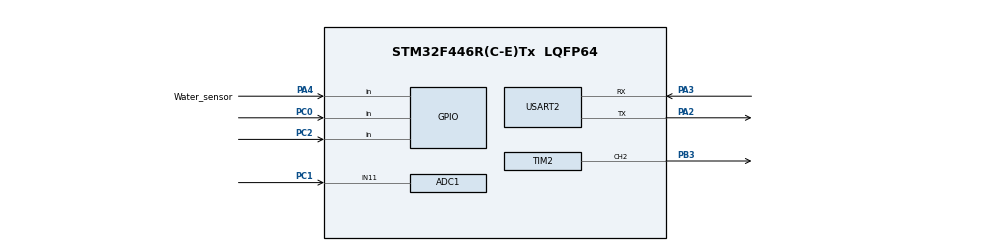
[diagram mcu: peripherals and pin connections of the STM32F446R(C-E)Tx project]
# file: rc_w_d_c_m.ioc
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ADC1.Channel-0\#ChannelRegularConversion=ADC_CHANNEL_11
ADC1.NbrOfConversionFlag=1
ADC1.Rank-0\#ChannelRegularConversion=1
ADC1.SamplingTime-0\#ChannelRegularConversion=ADC_SAMPLETIME_84CYCLES
ADC1.master=1
Mcu.Family=STM32F4
Mcu.Name=STM32F446R(C-E)Tx
Mcu.Package=LQFP64
NVIC.PriorityGroup=NVIC_PRIORITYGROUP_4
PA13.Mode=Serial_Wire
PA13.Signal=SYS_JTMS-SWDIO
PA14.Mode=Serial_Wire
PA14.Signal=SYS_JTCK-SWCLK
PA2.Mode=Asynchronous
PA2.Signal=USART2_TX
PA3.Mode=Asynchronous
PA3.Signal=USART2_RX
PA4.GPIO_Label=Water_sensor
PA4.GPIO_PuPd=GPIO_PULLUP
PA4.Signal=GPIO_Input
PB3.Signal=S_TIM2_CH2
PC0.GPIO_PuPd=GPIO_PULLUP
PC0.Signal=GPIO_Input
PC1.Signal=ADCx_IN11
PC2.GPIO_PuPd=GPIO_PULLUP
PC2.Signal=GPIO_Input
ProjectManager.HeapSize=0x200
ProjectManager.StackSize=0x400
ProjectManager.TargetToolchain=STM32CubeIDE
RCC.CortexFreq_Value=16000000
RCC.USBFreq_Value=96000000
RCC.VCOOutputFreq_Value=192000000
SH.ADCx_IN11.0=ADC1_IN11,IN11
SH.S_TIM2_CH2.0=TIM2_CH2,PWM Generation2 CH2
TIM2.Channel-PWM\ Generation2\ CH2=TIM_CHANNEL_2
TIM6.Prescaler=15
USART2.VirtualMode=VM_ASYNC
VP_TIM6_VS_ClockSourceINT.Mode=Enable_Timer
board=custom

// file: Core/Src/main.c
/* USER CODE BEGIN Header */
/**
  ******************************************************************************
  * @file           : main.c
  * @brief          : Main program body (STM32F446RET6 + TIM6 + TIM2 PWM + DHT11 + XKC-Y26-V + CO ADC)
  ******************************************************************************
  * @attention
  *
  * Copyright (c) 2026 STMicroelectronics.
  * All rights reserved.
  *
  * This software is licensed under terms that can be found in the LICENSE file
  * in the root directory of this software component.
  * If no LICENSE file comes with this software, it is provided AS-IS.
  *
  ******************************************************************************
  */
/* USER CODE END Header */
#include "main.h"

/* USER CODE BEGIN Includes */
#include <stdio.h>
#include <string.h>
#include <stdbool.h>
/* USER CODE END Includes */

/* USER CODE BEGIN PTD */
typedef struct
{
  uint8_t humidity;
  uint8_t temperature;
} DHT11_Data_t;

typedef struct
{
  uint16_t raw;
  uint32_t voltage_mv;
} CO_Data_t;
/* USER CODE END PTD */

/* USER CODE BEGIN PD */
#define WATER_PORT              GPIOC
#define WATER_PIN               GPIO_PIN_2

#define DHT11_PORT              GPIOC
#define DHT11_PIN               GPIO_PIN_0

#define CO_PORT                 GPIOC
#define CO_PIN                  GPIO_PIN_1
#define CO_ADC_CHANNEL          ADC_CHANNEL_11
#define VREF_MV                 3300U
#define ADC_MAX_VALUE           4095U

/* Arduino D3 -> Nucleo-F446RE PB3 (TIM2_CH2 PWM -> IRF520 MOSFET) */
#define PUMP_PORT               GPIOB
#define PUMP_PIN                GPIO_PIN_3
#define PUMP_TIM_CHANNEL        TIM_CHANNEL_2
#define PUMP_PWM_PERIOD         999U      /* 1MHz / (999 + 1) = 1kHz PWM */
#define PUMP_MAX_SPEED_PCT      100U      /* 최대속도: 100% 듀티 */

/* 임계값 설정 */
#define TEMP_THRESHOLD_C        20U       /* 온도 20도 이상 */
#define CO_THRESHOLD_RAW        200U      /* CO ADC Raw 150 이상 */
#define WATER_REQUIRE_DETECTED  0U        /* 1: 수위 HIGH일 때만 펌프 구동, 0: 수위 무관 */

#define DEBOUNCE_MS             100U
#define HEARTBEAT_MS            2000U
#define DHT11_INTERVAL_MS       2000U
#define CO_INTERVAL_MS          2000U
/* USER CODE END PD */

ADC_HandleTypeDef hadc1;

TIM_HandleTypeDef htim2;
TIM_HandleTypeDef htim6;

UART_HandleTypeDef huart2;

/* USER CODE BEGIN PV */
static uint8_t g_current_speed_pct = 0U;
static bool g_has_temp = false;
static uint8_t g_last_temp_c = 0U;
static bool g_has_co = false;
static uint16_t g_last_co_raw = 0U;
/* USER CODE END PV */

void SystemClock_Config(void);
static void MX_GPIO_Init(void);
static void MX_USART2_UART_Init(void);
static void MX_TIM6_Init(void);
static void MX_ADC1_Init(void);
static void MX_TIM2_Init(void);
/* USER CODE BEGIN PFP */
static void UART_Print(const char *msg);
static void Print_Water_Status(bool detected, uint32_t tick_ms, bool is_change);
static void Delay_us(uint16_t us);
static void DHT11_Set_Pin_Output(void);
static void DHT11_Set_Pin_Input(void);
static uint32_t DHT11_Wait_Pin_State(GPIO_PinState target, uint16_t timeout_us);
static bool DHT11_Read(DHT11_Data_t *out);
static void Print_DHT11_Status(const DHT11_Data_t *data, bool ok, uint32_t tick_ms);
static bool CO_Read(CO_Data_t *out);
static void Print_CO_Status(const CO_Data_t *data, bool ok, uint32_t tick_ms);
static void Pump_SetSpeedPct(uint8_t speed_pct, uint32_t tick_ms, const char *reason);
static void Pump_EvaluateControl(bool water_detected, uint32_t tick_ms);
/* USER CODE END PFP */

/* USER CODE BEGIN 0 */
static void UART_Print(const char *msg)
{
  if (msg != NULL)
  {
    HAL_UART_Transmit(&huart2, (uint8_t *)msg, (uint16_t)strlen(msg), HAL_MAX_DELAY);
  }
}

static void Print_Water_Status(bool detected, uint32_t tick_ms, bool is_change)
{
  char buf[128];
  const char *tag = is_change ? "변화" : "상태";
  const char *state_str = detected ? "물 감지됨 (HIGH)" : "물 없음 (LOW)";

  snprintf(buf, sizeof(buf), "[%lums] [%s] PC2 = %s | 수위: %s\r\n",
           (unsigned long)tick_ms,
           tag,
           detected ? "HIGH(1)" : "LOW(0)",
           state_str);

  UART_Print(buf);
}

static void Delay_us(uint16_t us)
{
  __HAL_TIM_SET_COUNTER(&htim6, 0U);
  while (__HAL_TIM_GET_COUNTER(&htim6) < us)
  {
    __NOP();
  }
}

static void DHT11_Set_Pin_Output(void)
{
  GPIO_InitTypeDef GPIO_InitStruct = {0};
  GPIO_InitStruct.Pin = DHT11_PIN;
  GPIO_InitStruct.Mode = GPIO_MODE_OUTPUT_PP;
  GPIO_InitStruct.Pull = GPIO_NOPULL;
  GPIO_InitStruct.Speed = GPIO_SPEED_FREQ_LOW;
  HAL_GPIO_Init(DHT11_PORT, &GPIO_InitStruct);
}

static void DHT11_Set_Pin_Input(void)
{
  GPIO_InitTypeDef GPIO_InitStruct = {0};
  GPIO_InitStruct.Pin = DHT11_PIN;
  GPIO_InitStruct.Mode = GPIO_MODE_INPUT;
  GPIO_InitStruct.Pull = GPIO_PULLUP;
  HAL_GPIO_Init(DHT11_PORT, &GPIO_InitStruct);
}

static uint32_t DHT11_Wait_Pin_State(GPIO_PinState target, uint16_t timeout_us)
{
  __HAL_TIM_SET_COUNTER(&htim6, 0U);
  while (HAL_GPIO_ReadPin(DHT11_PORT, DHT11_PIN) != target)
  {
    if (__HAL_TIM_GET_COUNTER(&htim6) >= timeout_us)
    {
      return 0U;
    }
    __NOP();
  }
  return (uint32_t)__HAL_TIM_GET_COUNTER(&htim6);
}

static bool DHT11_Read(DHT11_Data_t *out)
{
  uint8_t raw[5] = {0};

  if (out == NULL)
  {
    return false;
  }

  /* 1. 시작 신호: 18ms LOW 후 30us HIGH */
  DHT11_Set_Pin_Output();
  HAL_GPIO_WritePin(DHT11_PORT, DHT11_PIN, GPIO_PIN_RESET);
  HAL_Delay(18);
  HAL_GPIO_WritePin(DHT11_PORT, DHT11_PIN, GPIO_PIN_SET);
  Delay_us(30U);

  /* 2. 센서 응답 대기 (약 80us LOW -> 약 80us HIGH -> 데이터 시작 LOW) */
  DHT11_Set_Pin_Input();
  if (DHT11_Wait_Pin_State(GPIO_PIN_RESET, 100U) == 0U)
  {
    return false;
  }
  if (DHT11_Wait_Pin_State(GPIO_PIN_SET, 100U) == 0U)
  {
    return false;
  }
  if (DHT11_Wait_Pin_State(GPIO_PIN_RESET, 100U) == 0U)
  {
    return false;
  }

  /* 3. 40비트(5바이트) 수신: HIGH 진입 후 40us 뒤에도 HIGH면 비트 '1' */
  for (uint8_t byte_idx = 0U; byte_idx < 5U; byte_idx++)
  {
    uint8_t val = 0U;
    for (uint8_t bit_idx = 0U; bit_idx < 8U; bit_idx++)
    {
      if (DHT11_Wait_Pin_State(GPIO_PIN_SET, 100U) == 0U)
      {
        return false;
      }

      Delay_us(40U);
      if (HAL_GPIO_ReadPin(DHT11_PORT, DHT11_PIN) == GPIO_PIN_SET)
      {
        val |= (uint8_t)(1U << (7U - bit_idx));
        if (DHT11_Wait_Pin_State(GPIO_PIN_RESET, 100U) == 0U)
        {
          return false;
        }
      }
    }
    raw[byte_idx] = val;
  }

  /* 4. 체크섬 확인 */
  uint8_t sum = (uint8_t)(raw[0] + raw[1] + raw[2] + raw[3]);
  if (sum != raw[4])
  {
    return false;
  }

  out->humidity = raw[0];
  out->temperature = raw[2];
  return true;
}

static void Print_DHT11_Status(const DHT11_Data_t *data, bool ok, uint32_t tick_ms)
{
  char buf[128];
  if (ok && (data != NULL))
  {
    snprintf(buf, sizeof(buf), "[%lums] [DHT11] PC0 | 온도: %u C, 습도: %u%%\r\n",
             (unsigned long)tick_ms,
             (unsigned int)data->temperature,
             (unsigned int)data->humidity);
  }
  else
  {
    snprintf(buf, sizeof(buf), "[%lums] [DHT11] PC0 | 읽기 실패 (배선/풀업/Prescaler 확인)\r\n",
             (unsigned long)tick_ms);
  }
  UART_Print(buf);
}

static bool CO_Read(CO_Data_t *out)
{
  if (out == NULL)
  {
    return false;
  }

  if (HAL_ADC_Start(&hadc1) != HAL_OK)
  {
    return false;
  }

  if (HAL_ADC_PollForConversion(&hadc1, 10U) != HAL_OK)
  {
    HAL_ADC_Stop(&hadc1);
    return false;
  }

  uint32_t adc_val = HAL_ADC_GetValue(&hadc1);
  HAL_ADC_Stop(&hadc1);

  out->raw = (uint16_t)adc_val;
  out->voltage_mv = (adc_val * VREF_MV) / ADC_MAX_VALUE;
  return true;
}

static void Print_CO_Status(const CO_Data_t *data, bool ok, uint32_t tick_ms)
{
  char buf[128];
  if (ok && (data != NULL))
  {
    snprintf(buf, sizeof(buf), "[%lums] [CO] PC1(IN11) | ADC: %u / %u, 전압: %lu mV\r\n",
             (unsigned long)tick_ms,
             (unsigned int)data->raw,
             (unsigned int)ADC_MAX_VALUE,
             (unsigned long)data->voltage_mv);
  }
  else
  {
    snprintf(buf, sizeof(buf), "[%lums] [CO] PC1(IN11) | ADC 읽기 실패\r\n",
             (unsigned long)tick_ms);
  }
  UART_Print(buf);
}

static void Pump_SetSpeedPct(uint8_t speed_pct, uint32_t tick_ms, const char *reason)
{
  uint32_t pulse;

  if (speed_pct > 100U)
  {
    speed_pct = 100U;
  }

  /* Period=999(1000클럭) 기준 100%일 때 pulse=1000으로 최대 출력 */
  pulse = ((uint32_t)speed_pct * (PUMP_PWM_PERIOD + 1U)) / 100U;
  __HAL_TIM_SET_COMPARE(&htim2, PUMP_TIM_CHANNEL, pulse);

  if (g_current_speed_pct != speed_pct)
  {
    char buf[160];
    g_current_speed_pct = speed_pct;
    snprintf(buf, sizeof(buf), "[%lums] [PUMP PWM] PB3(D3) -> 속도 %u%% (CCR=%lu) [%s]\r\n",
             (unsigned long)tick_ms,
             (unsigned int)speed_pct,
             (unsigned long)pulse,
             (reason != NULL) ? reason : "제어");
    UART_Print(buf);
  }
}

static void Pump_EvaluateControl(bool water_detected, uint32_t tick_ms)
{
  bool temp_triggered = (g_has_temp && (g_last_temp_c >= TEMP_THRESHOLD_C));
  bool co_triggered = (g_has_co && (g_last_co_raw >= CO_THRESHOLD_RAW));
  bool env_triggered = (temp_triggered || co_triggered);

#if WATER_REQUIRE_DETECTED
  if (!water_detected)
  {
    Pump_SetSpeedPct(0U, tick_ms, "수위 LOW - 공회전 방지 정지");
    return;
  }
#else
  (void)water_detected;
#endif

  if (env_triggered)
  {
    const char *reason = (temp_triggered && co_triggered) ? "온도>=20C & CO>=150" :
                         (temp_triggered) ? "온도>=20C" : "CO>=150";
    Pump_SetSpeedPct(PUMP_MAX_SPEED_PCT, tick_ms, reason);
  }
  else
  {
    Pump_SetSpeedPct(0U, tick_ms, "임계값 미만 - 정지");
  }
}
/* USER CODE END 0 */

int main(void)
{

  /* MCU Configuration--------------------------------------------------------*/

  /* Reset of all peripherals, Initializes the Flash interface and the Systick. */
  HAL_Init();

  /* Configure the system clock */
  SystemClock_Config();

  /* Initialize all configured peripherals */
  MX_GPIO_Init();
  MX_USART2_UART_Init();
  MX_TIM6_Init();
  MX_ADC1_Init();
  MX_TIM2_Init();
  /* USER CODE BEGIN 2 */
  if (HAL_TIM_Base_Start(&htim6) != HAL_OK)
  {
    Error_Handler();
  }

  if (HAL_TIM_PWM_Start(&htim2, PUMP_TIM_CHANNEL) != HAL_OK)
  {
    Error_Handler();
  }

  /* 시작 시 펌프 0% 정지 */
  g_current_speed_pct = 0xFFU; /* 최초 상태 출력 유도 */
  Pump_SetSpeedPct(0U, HAL_GetTick(), "초기화 정지");

  UART_Print("\r\n==================================================================================\r\n");
  UART_Print("  STM32F446RET6 | XKC-Y26-V(PC2) + DHT11(PC0) + CO(PC1) + TIM2 PWM(PB3/D3)\r\n");
  UART_Print("  조건: 온도 >= 20C 또는 CO(ADC) >= 150 -> PWM 최대속도(100%)\r\n");
  UART_Print("==================================================================================\r\n");

  bool raw_state = (HAL_GPIO_ReadPin(WATER_PORT, WATER_PIN) == GPIO_PIN_SET);
  bool stable_state = raw_state;
  uint32_t last_raw_change_tick = HAL_GetTick();
  uint32_t last_heartbeat_tick = HAL_GetTick();
  uint32_t last_dht11_tick = HAL_GetTick() - DHT11_INTERVAL_MS;
  uint32_t last_co_tick = HAL_GetTick() - CO_INTERVAL_MS;

  Print_Water_Status(stable_state, HAL_GetTick(), true);
  /* USER CODE END 2 */

  /* Infinite loop */
  /* USER CODE BEGIN WHILE */
  while (1)
  {
    uint32_t now = HAL_GetTick();
    bool current_raw = (HAL_GPIO_ReadPin(WATER_PORT, WATER_PIN) == GPIO_PIN_SET);

    /* 수위 센서 신호 디바운스 처리 */
    if (current_raw != raw_state)
    {
      raw_state = current_raw;
      last_raw_change_tick = now;
    }

    if ((current_raw != stable_state) && ((now - last_raw_change_tick) >= DEBOUNCE_MS))
    {
      stable_state = current_raw;
      Print_Water_Status(stable_state, now, true);
      last_heartbeat_tick = now;
      Pump_EvaluateControl(stable_state, now);
    }

    /* 2초마다 수위 상태 요약 출력 */
    if ((now - last_heartbeat_tick) >= HEARTBEAT_MS)
    {
      last_heartbeat_tick = now;
      Print_Water_Status(stable_state, now, false);
    }

    /* 2초마다 DHT11 온습도 읽기 및 출력 */
    if ((now - last_dht11_tick) >= DHT11_INTERVAL_MS)
    {
      last_dht11_tick = now;
      DHT11_Data_t dht_data = {0};
      bool dht_ok = DHT11_Read(&dht_data);
      Print_DHT11_Status(&dht_data, dht_ok, now);

      if (dht_ok)
      {
        g_has_temp = true;
        g_last_temp_c = dht_data.temperature;
        Pump_EvaluateControl(stable_state, now);
      }
    }

    /* 2초마다 일산화탄소(CO) 센서 ADC 읽기 및 출력 */
    if ((now - last_co_tick) >= CO_INTERVAL_MS)
    {
      last_co_tick = now;
      CO_Data_t co_data = {0};
      bool co_ok = CO_Read(&co_data);
      Print_CO_Status(&co_data, co_ok, now);

      if (co_ok)
      {
        g_has_co = true;
        g_last_co_raw = co_data.raw;
        Pump_EvaluateControl(stable_state, now);
      }
    }

    HAL_Delay(10);
  }
    /* USER CODE END WHILE */

}

void SystemClock_Config(void)
{
  RCC_OscInitTypeDef RCC_OscInitStruct = {0};
  RCC_ClkInitTypeDef RCC_ClkInitStruct = {0};

  /** Configure the main internal regulator output voltage
  */
  __HAL_RCC_PWR_CLK_ENABLE();
  __HAL_PWR_VOLTAGESCALING_CONFIG(PWR_REGULATOR_VOLTAGE_SCALE3);

  /** Initializes the RCC Oscillators according to the specified parameters
  * in the RCC_OscInitTypeDef structure.
  */
  RCC_OscInitStruct.OscillatorType = RCC_OSCILLATORTYPE_HSI;
  RCC_OscInitStruct.HSIState = RCC_HSI_ON;
  RCC_OscInitStruct.HSICalibrationValue = RCC_HSICALIBRATION_DEFAULT;
  RCC_OscInitStruct.PLL.PLLState = RCC_PLL_NONE;
  if (HAL_RCC_OscConfig(&RCC_OscInitStruct) != HAL_OK)
  {
    Error_Handler();
  }

  /** Initializes the CPU, AHB and APB buses clocks
  */
  RCC_ClkInitStruct.ClockType = RCC_CLOCKTYPE_HCLK|RCC_CLOCKTYPE_SYSCLK
                              |RCC_CLOCKTYPE_PCLK1|RCC_CLOCKTYPE_PCLK2;
  RCC_ClkInitStruct.SYSCLKSource = RCC_SYSCLKSOURCE_HSI;
  RCC_ClkInitStruct.AHBCLKDivider = RCC_SYSCLK_DIV1;
  RCC_ClkInitStruct.APB1CLKDivider = RCC_HCLK_DIV1;
  RCC_ClkInitStruct.APB2CLKDivider = RCC_HCLK_DIV1;

  if (HAL_RCC_ClockConfig(&RCC_ClkInitStruct, FLASH_LATENCY_0) != HAL_OK)
  {
    Error_Handler();
  }
}

static void MX_ADC1_Init(void)
{

  /* USER CODE BEGIN ADC1_Init 0 */
  __HAL_RCC_ADC1_CLK_ENABLE();
  __HAL_RCC_GPIOC_CLK_ENABLE();

  GPIO_InitTypeDef GPIO_InitStruct = {0};
  GPIO_InitStruct.Pin = CO_PIN;
  GPIO_InitStruct.Mode = GPIO_MODE_ANALOG;
  GPIO_InitStruct.Pull = GPIO_NOPULL;
  HAL_GPIO_Init(CO_PORT, &GPIO_InitStruct);
  /* USER CODE END ADC1_Init 0 */

  ADC_ChannelConfTypeDef sConfig = {0};

  /** Configure the global features of the ADC (Clock, Resolution, Data Alignment and number of conversion)
  */
  hadc1.Instance = ADC1;
  hadc1.Init.ClockPrescaler = ADC_CLOCK_SYNC_PCLK_DIV2;
  hadc1.Init.Resolution = ADC_RESOLUTION_12B;
  hadc1.Init.ScanConvMode = DISABLE;
  hadc1.Init.ContinuousConvMode = DISABLE;
  hadc1.Init.DiscontinuousConvMode = DISABLE;
  hadc1.Init.ExternalTrigConvEdge = ADC_EXTERNALTRIGCONVEDGE_NONE;
  hadc1.Init.ExternalTrigConv = ADC_SOFTWARE_START;
  hadc1.Init.DataAlign = ADC_DATAALIGN_RIGHT;
  hadc1.Init.NbrOfConversion = 1;
  hadc1.Init.DMAContinuousRequests = DISABLE;
  hadc1.Init.EOCSelection = ADC_EOC_SINGLE_CONV;
  if (HAL_ADC_Init(&hadc1) != HAL_OK)
  {
    Error_Handler();
  }

  /** Configure for the selected ADC regular channel its corresponding rank in the sequencer and its sample time.
  */
  sConfig.Channel = ADC_CHANNEL_11;
  sConfig.Rank = 1;
  sConfig.SamplingTime = ADC_SAMPLETIME_84CYCLES;
  if (HAL_ADC_ConfigChannel(&hadc1, &sConfig) != HAL_OK)
  {
    Error_Handler();
  }

}

static void MX_TIM2_Init(void)
{

  /* USER CODE BEGIN TIM2_Init 0 */
  __HAL_RCC_TIM2_CLK_ENABLE();
  __HAL_RCC_GPIOB_CLK_ENABLE();

  GPIO_InitTypeDef GPIO_InitStruct = {0};
  GPIO_InitStruct.Pin = PUMP_PIN;
  GPIO_InitStruct.Mode = GPIO_MODE_AF_PP;
  GPIO_InitStruct.Pull = GPIO_NOPULL;
  GPIO_InitStruct.Speed = GPIO_SPEED_FREQ_LOW;
  GPIO_InitStruct.Alternate = GPIO_AF1_TIM2;
  HAL_GPIO_Init(PUMP_PORT, &GPIO_InitStruct);
  /* USER CODE END TIM2_Init 0 */

  TIM_MasterConfigTypeDef sMasterConfig = {0};
  TIM_OC_InitTypeDef sConfigOC = {0};

  htim2.Instance = TIM2;
  htim2.Init.Prescaler = 0;
  htim2.Init.CounterMode = TIM_COUNTERMODE_UP;
  htim2.Init.Period = 4294967295;
  htim2.Init.ClockDivision = TIM_CLOCKDIVISION_DIV1;
  htim2.Init.AutoReloadPreload = TIM_AUTORELOAD_PRELOAD_DISABLE;
  if (HAL_TIM_PWM_Init(&htim2) != HAL_OK)
  {
    Error_Handler();
  }
  sMasterConfig.MasterOutputTrigger = TIM_TRGO_RESET;
  sMasterConfig.MasterSlaveMode = TIM_MASTERSLAVEMODE_DISABLE;
  if (HAL_TIMEx_MasterConfigSynchronization(&htim2, &sMasterConfig) != HAL_OK)
  {
    Error_Handler();
  }
  sConfigOC.OCMode = TIM_OCMODE_PWM1;
  sConfigOC.Pulse = 0;
  sConfigOC.OCPolarity = TIM_OCPOLARITY_HIGH;
  sConfigOC.OCFastMode = TIM_OCFAST_DISABLE;
  if (HAL_TIM_PWM_ConfigChannel(&htim2, &sConfigOC, TIM_CHANNEL_2) != HAL_OK)
  {
    Error_Handler();
  }
  HAL_TIM_MspPostInit(&htim2);

}

static void MX_TIM6_Init(void)
{

  TIM_MasterConfigTypeDef sMasterConfig = {0};

  htim6.Instance = TIM6;
  htim6.Init.Prescaler = 15;
  htim6.Init.CounterMode = TIM_COUNTERMODE_UP;
  htim6.Init.Period = 65535;
  htim6.Init.AutoReloadPreload = TIM_AUTORELOAD_PRELOAD_DISABLE;
  if (HAL_TIM_Base_Init(&htim6) != HAL_OK)
  {
    Error_Handler();
  }
  sMasterConfig.MasterOutputTrigger = TIM_TRGO_RESET;
  sMasterConfig.MasterSlaveMode = TIM_MASTERSLAVEMODE_DISABLE;
  if (HAL_TIMEx_MasterConfigSynchronization(&htim6, &sMasterConfig) != HAL_OK)
  {
    Error_Handler();
  }

}

static void MX_USART2_UART_Init(void)
{

  huart2.Instance = USART2;
  huart2.Init.BaudRate = 115200;
  huart2.Init.WordLength = UART_WORDLENGTH_8B;
  huart2.Init.StopBits = UART_STOPBITS_1;
  huart2.Init.Parity = UART_PARITY_NONE;
  huart2.Init.Mode = UART_MODE_TX_RX;
  huart2.Init.HwFlowCtl = UART_HWCONTROL_NONE;
  huart2.Init.OverSampling = UART_OVERSAMPLING_16;
  if (HAL_UART_Init(&huart2) != HAL_OK)
  {
    Error_Handler();
  }

}

static void MX_GPIO_Init(void)
{
  GPIO_InitTypeDef GPIO_InitStruct = {0};

  /* GPIO Ports Clock Enable */
  __HAL_RCC_GPIOC_CLK_ENABLE();
  __HAL_RCC_GPIOA_CLK_ENABLE();
  __HAL_RCC_GPIOB_CLK_ENABLE();

  /*Configure GPIO pins : PC0 PC2 */
  GPIO_InitStruct.Pin = GPIO_PIN_0|GPIO_PIN_2;
  GPIO_InitStruct.Mode = GPIO_MODE_INPUT;
  GPIO_InitStruct.Pull = GPIO_PULLUP;
  HAL_GPIO_Init(GPIOC, &GPIO_InitStruct);

  /*Configure GPIO pin : Water_sensor_Pin */
  GPIO_InitStruct.Pin = Water_sensor_Pin;
  GPIO_InitStruct.Mode = GPIO_MODE_INPUT;
  GPIO_InitStruct.Pull = GPIO_PULLUP;
  HAL_GPIO_Init(Water_sensor_GPIO_Port, &GPIO_InitStruct);

}

void Error_Handler(void)
{
  __disable_irq();
  while (1)
  {
  }
}
